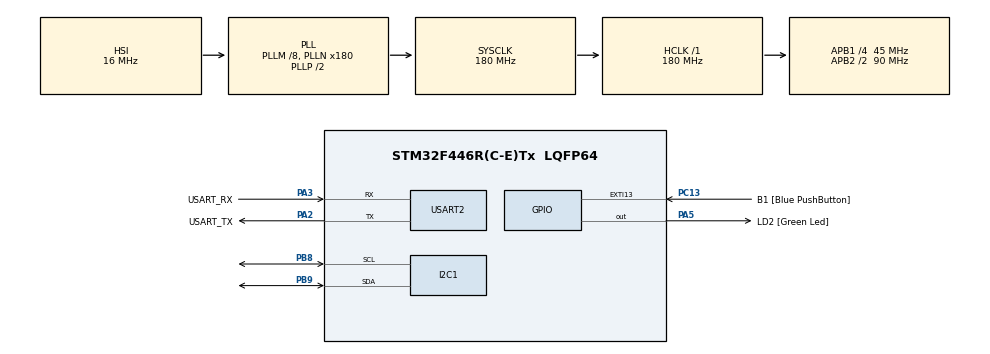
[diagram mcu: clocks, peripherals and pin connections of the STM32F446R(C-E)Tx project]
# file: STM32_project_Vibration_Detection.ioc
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I2C1.I2C_Mode=I2C_Fast
Mcu.Family=STM32F4
Mcu.Name=STM32F446R(C-E)Tx
Mcu.Package=LQFP64
NVIC.PriorityGroup=NVIC_PRIORITYGROUP_0
PA13.GPIO_Label=TMS
PA13.Mode=Serial_Wire
PA13.Signal=SYS_JTMS-SWDIO
PA14.GPIO_Label=TCK
PA14.Mode=Serial_Wire
PA14.Signal=SYS_JTCK-SWCLK
PA2.GPIO_Label=USART_TX
PA2.Mode=Asynchronous
PA2.Signal=USART2_TX
PA3.GPIO_Label=USART_RX
PA3.Mode=Asynchronous
PA3.Signal=USART2_RX
PA5.GPIO_Label=LD2 [Green Led]
PA5.Signal=GPIO_Output
PB3.GPIO_Label=SWO
PB3.Signal=SYS_JTDO-SWO
PB8.Mode=I2C
PB8.Signal=I2C1_SCL
PB9.Mode=I2C
PB9.Signal=I2C1_SDA
PC13.GPIO_Label=B1 [Blue PushButton]
PC13.GPIO_ModeDefaultEXTI=GPIO_MODE_IT_FALLING
PC13.Signal=GPXTI13
PC14-OSC32_IN.Mode=LSE-External-Oscillator
PC14-OSC32_IN.Signal=RCC_OSC32_IN
PC15-OSC32_OUT.Mode=LSE-External-Oscillator
PC15-OSC32_OUT.Signal=RCC_OSC32_OUT
PH0-OSC_IN.Mode=HSE-External-Oscillator
PH0-OSC_IN.Signal=RCC_OSC_IN
PH1-OSC_OUT.Mode=HSE-External-Oscillator
PH1-OSC_OUT.Signal=RCC_OSC_OUT
ProjectManager.HeapSize=0x2000
ProjectManager.StackSize=0x2000
ProjectManager.TargetToolchain=CMake
RCC.48MHZClocksFreq_Value=84000000
RCC.AHBFreq_Value=180000000
RCC.APB1CLKDivider=RCC_HCLK_DIV4
RCC.APB1Freq_Value=45000000
RCC.APB1TimFreq_Value=90000000
RCC.APB2CLKDivider=RCC_HCLK_DIV2
RCC.APB2Freq_Value=90000000
RCC.APB2TimFreq_Value=180000000
RCC.CortexFreq_Value=180000000
RCC.FLatency-AdvancedSettings=FLASH_LATENCY_5
RCC.HCLKFreq_Value=180000000
RCC.HSE_VALUE=8000000
RCC.HSI_VALUE=16000000
RCC.PLLM=8
RCC.PLLN=180
RCC.SYSCLKFreq_VALUE=180000000
RCC.SYSCLKSource=RCC_SYSCLKSOURCE_PLLCLK
RCC.USBFreq_Value=180000000
RCC.VCOOutputFreq_Value=360000000
STMicroelectronics.X-CUBE-AI.10.2.0.ActivationBufferSizeList=3396
STMicroelectronics.X-CUBE-AI.10.2.0.ActivationBuffers=pool0
STMicroelectronics.X-CUBE-AI.10.2.0.ActivationNames=pool0
STMicroelectronics.X-CUBE-AI.10.2.0.ActivationSizes=AI_NETWORK_DATA_ACTIVATION_1_SIZE
STMicroelectronics.X-CUBE-AI.10.2.0.HeapSize=0x2000
STMicroelectronics.X-CUBE-AI.10.2.0.InternalRamActivationBufferMaxSize=AI_NETWORK_DATA_ACTIVATIONS_SIZE
STMicroelectronics.X-CUBE-AI.10.2.0.LatestDirectoryUsed-66644fa5c80e9809419db57206e446ace3804ccc3c5c26eccd350b9ac5980d81=D\:\\TinyML_Vibration_Detection_data
STMicroelectronics.X-CUBE-AI.10.2.0.MaximumNumberOfInputLayer=1
STMicroelectronics.X-CUBE-AI.10.2.0.MaximumNumberOfOutputLayer=1
STMicroelectronics.X-CUBE-AI.10.2.0.MaximumSizeOfInputLayer=1
STMicroelectronics.X-CUBE-AI.10.2.0.MaximumSizeOfOutputLayer=1
STMicroelectronics.X-CUBE-AI.10.2.0.ModelActualCompression-66644fa5c80e9809419db57206e446ace3804ccc3c5c26eccd350b9ac5980d81=0.0
STMicroelectronics.X-CUBE-AI.10.2.0.ModelCompression-66644fa5c80e9809419db57206e446ace3804ccc3c5c26eccd350b9ac5980d81=None
STMicroelectronics.X-CUBE-AI.10.2.0.ModelFlashOccupation-66644fa5c80e9809419db57206e446ace3804ccc3c5c26eccd350b9ac5980d81=97360
STMicroelectronics.X-CUBE-AI.10.2.0.ModelHashList=66644fa5c80e9809419db57206e446ace3804ccc3c5c26eccd350b9ac5980d81
STMicroelectronics.X-CUBE-AI.10.2.0.ModelKind-66644fa5c80e9809419db57206e446ace3804ccc3c5c26eccd350b9ac5980d81=TFLITE
STMicroelectronics.X-CUBE-AI.10.2.0.ModelMacc-66644fa5c80e9809419db57206e446ace3804ccc3c5c26eccd350b9ac5980d81=23186
STMicroelectronics.X-CUBE-AI.10.2.0.ModelName-66644fa5c80e9809419db57206e446ace3804ccc3c5c26eccd350b9ac5980d81=network
STMicroelectronics.X-CUBE-AI.10.2.0.ModelNameList=network
STMicroelectronics.X-CUBE-AI.10.2.0.ModelRamOccupation-66644fa5c80e9809419db57206e446ace3804ccc3c5c26eccd350b9ac5980d81=3396
STMicroelectronics.X-CUBE-AI.10.2.0.ModelStructureFile-66644fa5c80e9809419db57206e446ace3804ccc3c5c26eccd350b9ac5980d81=D\:\\TinyML_Vibration_Detection_data\\model.tflite
STMicroelectronics.X-CUBE-AI.10.2.0.ModelType-66644fa5c80e9809419db57206e446ace3804ccc3c5c26eccd350b9ac5980d81=STM32Cube.AI MCU runtime
STMicroelectronics.X-CUBE-AI.10.2.0.ReadyForCodeGeneration=true
STMicroelectronics.X-CUBE-AI.10.2.0.StackSize=0x2000
STMicroelectronics.X-CUBE-AI.10.2.0.WorkingBufferStartAddrList=0xFFFFFFFF
STMicroelectronics.X-CUBE-AI.10.2.0.XAaCUBEAaAICcArtificialOoIntelligenceJjCore=true
STMicroelectronics.X-CUBE-AI.10.2.0.copyWeightToRam=false
STMicroelectronics.X-CUBE-AI.10.2.0.customLayerConfigEnabled=false
STMicroelectronics.X-CUBE-AI.10.2.0.noOnnxIoTranspose=false
STMicroelectronics.X-CUBE-AI.10.2.0.useInputAllocation=true
STMicroelectronics.X-CUBE-AI.10.2.0.useOutputAllocation=true
USART2.VirtualMode=VM_ASYNC
VP_STMicroelectronics.X-CUBE-AI_VS_ArtificialOoIntelligenceJjXAaCUBEAaAI_10.2.0.Mode=ArtificialOoIntelligenceJjXAaCUBEAaAI
board=NUCLEO-F446RE

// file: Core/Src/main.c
/* USER CODE BEGIN Header */
/**
  ******************************************************************************
  * @file           : main.c
  * @brief          : Main program body
  ******************************************************************************
  * @attention
  *
  * Copyright (c) 2026 STMicroelectronics.
  * All rights reserved.
  *
  * This software is licensed under terms that can be found in the LICENSE file
  * in the root directory of this software component.
  * If no LICENSE file comes with this software, it is provided AS-IS.
  *
  ******************************************************************************
  */
/* USER CODE END Header */
#include "main.h"
#include "i2c.h"
#include "usart.h"
#include "gpio.h"

/* USER CODE BEGIN Includes */
#include <stdio.h>
#include <string.h>
#include <math.h>
#include "network.h"       // X-CUBE-AI 核心標頭檔
#include "network_data.h"  // 模型權重資料結構
#include "ssd1306.h"       // 新增 OLED 驅動
#include "ssd1306_fonts.h"
/* USER CODE END Includes */

/* USER CODE BEGIN PV */

// --- MPU6500 暫存器與地址設定 ---
static const uint8_t mpu6500_addr = 0x68 << 1;

// --- 模型相關變數 ---
ai_handle network = AI_HANDLE_NULL;
AI_ALIGNED(32) ai_u8 activations[AI_NETWORK_DATA_ACTIVATIONS_SIZE];

// AI 輸入與輸出快取區 (50點 * 3軸 = 150 個 float)
AI_ALIGNED(32) ai_float ai_in_data[AI_NETWORK_IN_1_SIZE];
AI_ALIGNED(32) ai_float ai_out_data[AI_NETWORK_OUT_1_SIZE];

// 定義 AI 的輸入與輸出結構體
ai_buffer ai_input;
ai_buffer ai_output;

// --- 滑動視窗緩衝區 ---
#define WINDOW_SIZE 50
#define STEP_SIZE 10
float window_buffer[WINDOW_SIZE][3];
int sample_count = 0;

// --- MinMaxScaler 參數 (請根據你 Python 的實測數據微調) ---
float x_min = -19236.0f, x_max = -10264.0f;
float y_min = 184.0f, y_max = 3788.0f;
float z_min = -4460.0f, z_max = -2244.0f;

// --- 判斷異常的門檻值 ---
const float ANOMALY_THRESHOLD = 0.17f;

/* USER CODE END PV */

void SystemClock_Config(void);

/* USER CODE BEGIN 0 */
int _write(int file, char *ptr, int len) {
    // 使用 HAL 函式庫將字串透過 huart2 傳送出去，設定超時時間為 HAL_MAX_DELAY
    HAL_UART_Transmit(&huart2, (uint8_t*)ptr, len, HAL_MAX_DELAY);
    return len;
}
/* USER CODE END 0 */

int main(void)
{

  /* MCU Configuration--------------------------------------------------------*/

  /* Reset of all peripherals, Initializes the Flash interface and the Systick. */
  HAL_Init();

  /* Configure the system clock */
  SystemClock_Config();

  /* Initialize all configured peripherals */
  MX_GPIO_Init();
  MX_USART2_UART_Init();
  MX_I2C1_Init();
  /* USER CODE BEGIN 2 */

  // 1. MPU6500 喚醒
  uint8_t pwr_mgmt_1_reg = 0x6B;
  uint8_t wake_up_cmd = 0x00;
  HAL_I2C_Mem_Write(&hi2c1, mpu6500_addr, pwr_mgmt_1_reg, 1, &wake_up_cmd, 1, 100);
  printf("MPU6500 已喚醒...\r\n");

  // 2. 初始化 X-CUBE-AI 網路
  ai_error ai_err;

  // 建立 AI 執行個體
  ai_err = ai_network_create(&network, AI_NETWORK_DATA_CONFIG);
  if (ai_err.type != AI_ERROR_NONE) {
      printf("AI 網路建立失敗！\r\n");
      while(1);
  }

  // 設定啟動參數與記憶體配置
  const ai_network_params params = {
      AI_NETWORK_DATA_WEIGHTS(ai_network_data_weights_get()),
      AI_NETWORK_DATA_ACTIVATIONS(activations)
  };

  if (!ai_network_init(network, &params)) {
      printf("AI 網路初始化失敗！\r\n");
      while(1);
  }

  // 設定輸入/輸出緩衝區格式
  ai_input = ai_network_inputs_get(network, NULL)[0];
  ai_output = ai_network_outputs_get(network, NULL)[0];

  ai_input.data = AI_HANDLE_PTR(ai_in_data);
  ai_output.data = AI_HANDLE_PTR(ai_out_data);

  printf("X-CUBE-AI 初始化成功。開始監控馬達震動...\r\n");
  HAL_Delay(1000);

  // 3. 初始化 OLED 螢幕
  ssd1306_Init();
  ssd1306_Fill(Black);
  ssd1306_SetCursor(10, 20);
  ssd1306_WriteString("AI System", Font_11x18, White);
  ssd1306_SetCursor(25, 40);
  ssd1306_WriteString("Ready!", Font_7x10, White);
  ssd1306_UpdateScreen();
  HAL_Delay(1000); // 開機畫面停留一秒

  /* USER CODE END 2 */

  /* Infinite loop */
  while (1)
  {

    /* USER CODE BEGIN 3 */
    uint8_t accel_data[6];
    int16_t raw_x, raw_y, raw_z;

    // 1. 從 MPU6500 讀取實時數據
    if (HAL_I2C_Mem_Read(&hi2c1, mpu6500_addr, 0x3B, 1, accel_data, 6, 100) != HAL_OK) {
        printf("I2C 通訊中斷。嘗試重啟 I2C...\r\n");

        // I2C 關掉再重開
        HAL_I2C_DeInit(&hi2c1);
        HAL_Delay(10);
        HAL_I2C_Init(&hi2c1);
        continue; // 跳過這次，重新從頭讀取
    }
    raw_x = (int16_t)(accel_data[0] << 8 | accel_data[1]);
    raw_y = (int16_t)(accel_data[2] << 8 | accel_data[3]);
    raw_z = (int16_t)(accel_data[4] << 8 | accel_data[5]);

    // 2. 將數據放入滑動視窗緩衝區，同時在底層完成 MinMaxScaler (0~1)
    window_buffer[sample_count][0] = ((float)raw_x - x_min) / (x_max - x_min);
    window_buffer[sample_count][1] = ((float)raw_y - y_min) / (y_max - y_min);
    window_buffer[sample_count][2] = ((float)raw_z - z_min) / (z_max - z_min);
    sample_count++;

    // 3. 當緩衝區集滿 50 筆數據，觸發 AI 推論
    if (sample_count >= WINDOW_SIZE) {

        // 將 2D 視窗資料壓平成 1D 陣列傳給 AI 輸入區
        int idx = 0;
        for (int i = 0; i < WINDOW_SIZE; i++) {
            ai_in_data[idx++] = window_buffer[i][0];
            ai_in_data[idx++] = window_buffer[i][1];
            ai_in_data[idx++] = window_buffer[i][2];
        }
        // 防呆：重新強制作業視窗與 AI 緩衝區對齊 ===
        ai_input.data = AI_HANDLE_PTR(ai_in_data);
        ai_output.data = AI_HANDLE_PTR(ai_out_data);

        // 4. 執行 AI 推論 (讓 Autoencoder 嘗試重建訊號)
        ai_i32 n_batch = ai_network_run(network, &ai_input, &ai_output);
        if (n_batch != 1) {
            printf("AI 結論出錯！\r\n");
        }

        // 5. 在 C 語言中計算 Reconstruction Loss (MSE)
        float total_squared_error = 0.0f;
        for (int i = 0; i < AI_NETWORK_IN_1_SIZE; i++) {
            float error = ai_in_data[i] - ai_out_data[i];
            total_squared_error += error * error;
        }
        float mse_score = total_squared_error / AI_NETWORK_IN_1_SIZE;

        // 6. 依據在Threshold (0.170) 進行異常告警
        // 把小數點放大 10000 倍變成整數，避開 STM32 不支援 %f
        int mse_int = (int)(mse_score * 10000.0f);
        int threshold_int = (int)(ANOMALY_THRESHOLD * 10000.0f);

        // 建立一個字串緩衝區來顯示分數
        char score_str[20];
        sprintf(score_str, "MSE: %d", mse_int);

        // 防呆：如果 Z 軸讀數完全是 0，代表 I2C 可能斷線
        if (raw_z == 0 && raw_x == 0) {
            printf("讀不到感測器數據\r\n");
            ssd1306_Fill(Black);
            ssd1306_SetCursor(10, 20);
            ssd1306_WriteString("SENSOR ERR", Font_11x18, White);
            ssd1306_UpdateScreen();
        }
        else if (mse_int > threshold_int) {
            // 印出放大 10000 倍的整數分數，並附上當下 Z 軸原始數據方便觀察
            printf("震動異常 MSE分數: %d / 10000 | 原始Z軸: %d \r\n", mse_int, raw_z);

            // 螢幕顯示：ABNORMAL
            ssd1306_Fill(Black);
            ssd1306_SetCursor(15, 10);
            ssd1306_WriteString("ABNORMAL!", Font_11x18, White);
            ssd1306_SetCursor(25, 40);
            ssd1306_WriteString(score_str, Font_7x10, White);
            ssd1306_UpdateScreen();
        }
        else {
            printf("[✅ 正常] 運轉平穩. MSE分數: %d / 10000 | 原始Z軸: %d \r\n", mse_int, raw_z);

            // 螢幕顯示：NORMAL
            ssd1306_Fill(Black);
            ssd1306_SetCursor(25, 10);
            ssd1306_WriteString("NORMAL", Font_11x18, White);
            ssd1306_SetCursor(25, 40);
            ssd1306_WriteString(score_str, Font_7x10, White);
            ssd1306_UpdateScreen();
        }
        // ==================================================
        // 7. 實現滑動視窗步長 (STEP_SIZE = 10)：將後面 40 筆資料往前移，騰出 10 筆新空間
        memmove(&window_buffer[0], &window_buffer[STEP_SIZE], (WINDOW_SIZE - STEP_SIZE) * sizeof(window_buffer[0]));

        // 重置採樣計數器！這行功能為避免引發 HardFault
        sample_count = WINDOW_SIZE - STEP_SIZE;

    }

    // 控制採樣頻率，與 Python 採集時保持一致 (50ms 採樣一次)
    HAL_Delay(50);
  }
  /* USER CODE END 3 */
}

void SystemClock_Config(void)
{
  RCC_OscInitTypeDef RCC_OscInitStruct = {0};
  RCC_ClkInitTypeDef RCC_ClkInitStruct = {0};

  /** Configure the main internal regulator output voltage
  */
  __HAL_RCC_PWR_CLK_ENABLE();
  __HAL_PWR_VOLTAGESCALING_CONFIG(PWR_REGULATOR_VOLTAGE_SCALE1);

  /** Initializes the RCC Oscillators according to the specified parameters
  * in the RCC_OscInitTypeDef structure.
  */
  RCC_OscInitStruct.OscillatorType = RCC_OSCILLATORTYPE_HSI;
  RCC_OscInitStruct.HSIState = RCC_HSI_ON;
  RCC_OscInitStruct.HSICalibrationValue = RCC_HSICALIBRATION_DEFAULT;
  RCC_OscInitStruct.PLL.PLLState = RCC_PLL_ON;
  RCC_OscInitStruct.PLL.PLLSource = RCC_PLLSOURCE_HSI;
  RCC_OscInitStruct.PLL.PLLM = 8;
  RCC_OscInitStruct.PLL.PLLN = 180;
  RCC_OscInitStruct.PLL.PLLP = RCC_PLLP_DIV2;
  RCC_OscInitStruct.PLL.PLLQ = 2;
  RCC_OscInitStruct.PLL.PLLR = 2;
  if (HAL_RCC_OscConfig(&RCC_OscInitStruct) != HAL_OK)
  {
    Error_Handler();
  }

  /** Activate the Over-Drive mode
  */
  if (HAL_PWREx_EnableOverDrive() != HAL_OK)
  {
    Error_Handler();
  }

  /** Initializes the CPU, AHB and APB buses clocks
  */
  RCC_ClkInitStruct.ClockType = RCC_CLOCKTYPE_HCLK|RCC_CLOCKTYPE_SYSCLK
                              |RCC_CLOCKTYPE_PCLK1|RCC_CLOCKTYPE_PCLK2;
  RCC_ClkInitStruct.SYSCLKSource = RCC_SYSCLKSOURCE_PLLCLK;
  RCC_ClkInitStruct.AHBCLKDivider = RCC_SYSCLK_DIV1;
  RCC_ClkInitStruct.APB1CLKDivider = RCC_HCLK_DIV4;
  RCC_ClkInitStruct.APB2CLKDivider = RCC_HCLK_DIV2;

  if (HAL_RCC_ClockConfig(&RCC_ClkInitStruct, FLASH_LATENCY_5) != HAL_OK)
  {
    Error_Handler();
  }
}

void Error_Handler(void)
{
  __disable_irq();
  while (1)
  {
  }
}
